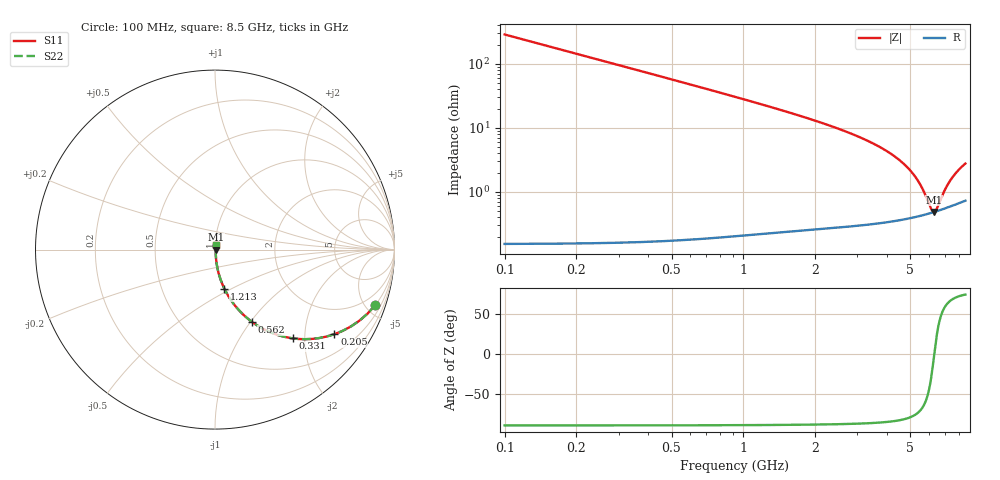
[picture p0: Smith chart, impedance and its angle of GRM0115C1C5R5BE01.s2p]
!Murata Part Number: GRM0115C1C5R5BE01
!These Parameters are Measured in Series Mode Connection
!Data Generated on Mar 30, 2021
!  o--ll--o
!Port1  Port2
!  o------o
!Operation Temp=25[degC], DC Bias Voltage=0[V]
!Freq. Start=100[MHz] Stop=9[GHz] 401[Steps]
# Hz S RI R 50
!Freq.(Hz) S11(Real) S11(Imag) S21(Real) S21(Imag) S12(Real) S12(Imag) S22(Real) S22(Imag)
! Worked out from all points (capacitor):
!   401 points, 100 MHz to 8.5 GHz, reference 50 ohm
!   read as one part in series: C = 5.5 pF near 142 MHz
!   lowest |Z| = 484 mohm at 6.274 GHz (marker M1)
!   series resonance near 6.296 GHz, so ESL is about 120 pH
!   S11 on the Smith chart (normalised r, x): 100 MHz: 1.00, -5.79; 205 MHz: 1.00, -2.82; 331 MHz: 1.00, -1.74; 562 MHz: 1.00, -1.02; 1.213 GHz: 1.00, -0.46; 8.5 GHz: 1.01, +0.05
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1e8  0.8931 -0.3087  0.1069 0.3087  0.1069 0.3087  0.8931 -0.3087
1.42e8  0.8056 -0.3954  0.1944 0.3954  0.1944 0.3954  0.8056 -0.3954
2.05e8  0.6651 -0.4714  0.3349 0.4714  0.3349 0.4714  0.6651 -0.4714
2.68e8  0.5372 -0.4979  0.4628 0.4979  0.4628 0.4979  0.5372 -0.4979
3.31e8  0.4318 -0.4944  0.5682 0.4944  0.5682 0.4944  0.4318 -0.4944
4.36e8  0.304 -0.4587  0.696 0.4587  0.696 0.4587  0.304 -0.4587
5.62e8  0.2074 -0.4038  0.7926 0.4038  0.7926 0.4038  0.2074 -0.4038
8.14e8  0.1099 -0.31  0.8901 0.31  0.8901 0.31  0.1099 -0.31
1.213e9  0.0518 -0.2168  0.9482 0.2168  0.9482 0.2168  0.0518 -0.2168
1.507e9  0.0337 -0.174  0.9663 0.174  0.9663 0.174  0.0337 -0.174
2.914e9  0.00885 -0.0767  0.9911 0.0767  0.9911 0.0767  0.00885 -0.0767
4.3e9  0.00474 -0.0354  0.9953 0.0354  0.9953 0.0354  0.00474 -0.0354
5.119e9  0.00429 -0.0188  0.9957 0.0188  0.9957 0.0188  0.00429 -0.0188
5.434e9  0.00433 -0.0133  0.9957 0.0133  0.9957 0.0133  0.00433 -0.0133
5.707e9  0.00442 -0.00885  0.9956 0.00885  0.9956 0.00885  0.00442 -0.00885
6.106e9  0.00467 -0.00274  0.9953 0.00274  0.9953 0.00274  0.00467 -0.00274
6.274e9  0.0048 -0.000308  0.9952 0.000308  0.9952 0.000308  0.0048 -0.000308
6.442e9  0.00496 0.00206  0.995 -0.00206  0.995 -0.00206  0.00496 0.00206
6.841e9  0.00539 0.00741  0.9946 -0.00741  0.9946 -0.00741  0.00539 0.00741
7.114e9  0.00574 0.0109  0.9943 -0.0109  0.9943 -0.0109  0.00574 0.0109
7.723e9  0.00663 0.0181  0.9934 -0.0181  0.9934 -0.0181  0.00663 0.0181
8.5e9  0.00792 0.0264  0.9921 -0.0264  0.9921 -0.0264  0.00792 0.0264
